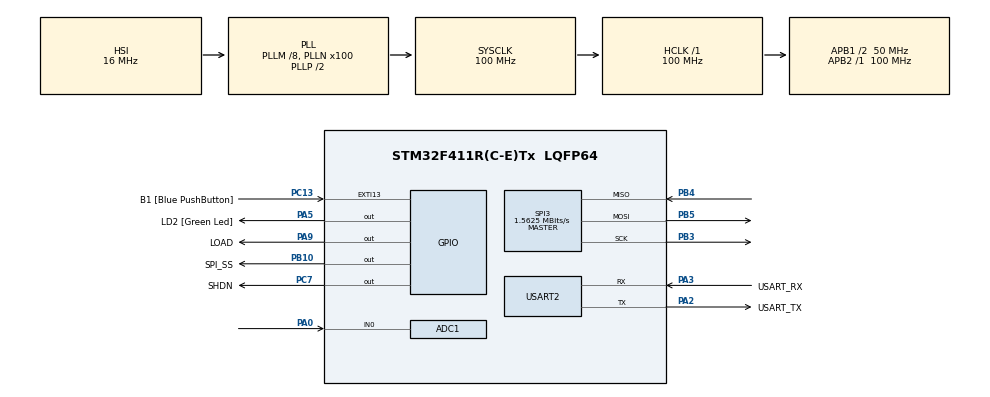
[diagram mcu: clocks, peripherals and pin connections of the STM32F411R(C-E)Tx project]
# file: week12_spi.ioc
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ADC1.Channel-0\#ChannelRegularConversion=ADC_CHANNEL_0
ADC1.DMAContinuousRequests=ENABLE
ADC1.ExternalTrigConv=ADC_EXTERNALTRIGCONV_T3_TRGO
ADC1.NbrOfConversion=1
ADC1.NbrOfConversionFlag=1
ADC1.Rank-0\#ChannelRegularConversion=1
ADC1.SamplingTime-0\#ChannelRegularConversion=ADC_SAMPLETIME_3CYCLES
ADC1.ScanConvMode=ENABLE
ADC1.master=1
Dma.ADC1.0.Direction=DMA_PERIPH_TO_MEMORY
Dma.ADC1.0.FIFOMode=DMA_FIFOMODE_DISABLE
Dma.ADC1.0.Instance=DMA2_Stream0
Dma.ADC1.0.MemDataAlignment=DMA_MDATAALIGN_HALFWORD
Dma.ADC1.0.MemInc=DMA_MINC_ENABLE
Dma.ADC1.0.Mode=DMA_CIRCULAR
Dma.ADC1.0.PeriphDataAlignment=DMA_PDATAALIGN_HALFWORD
Dma.ADC1.0.PeriphInc=DMA_PINC_DISABLE
Dma.ADC1.0.Priority=DMA_PRIORITY_LOW
Dma.Request0=ADC1
Mcu.Family=STM32F4
Mcu.Name=STM32F411R(C-E)Tx
Mcu.Package=LQFP64
NVIC.ADC_IRQn=true\:0\:0\:false\:false\:true\:true\:true
NVIC.DMA2_Stream0_IRQn=true\:0\:0\:false\:false\:true\:false\:true
NVIC.PriorityGroup=NVIC_PRIORITYGROUP_0
NVIC.SPI3_IRQn=true\:0\:0\:false\:false\:true\:true\:true
NVIC.TIM1_TRG_COM_TIM11_IRQn=true\:0\:0\:false\:false\:true\:true\:true
NVIC.USART2_IRQn=true\:0\:0\:false\:false\:true\:true\:true
PA0-WKUP.Signal=ADCx_IN0
PA13.GPIO_Label=TMS
PA13.Mode=Serial_Wire
PA13.Signal=SYS_JTMS-SWDIO
PA14.GPIO_Label=TCK
PA14.Mode=Serial_Wire
PA14.Signal=SYS_JTCK-SWCLK
PA2.GPIO_Label=USART_TX
PA2.Mode=Asynchronous
PA2.Signal=USART2_TX
PA3.GPIO_Label=USART_RX
PA3.Mode=Asynchronous
PA3.Signal=USART2_RX
PA5.GPIO_Label=LD2 [Green Led]
PA5.Signal=GPIO_Output
PA9.GPIO_Label=LOAD
PA9.Signal=GPIO_Output
PB10.GPIO_Label=SPI_SS
PB10.PinState=GPIO_PIN_SET
PB10.Signal=GPIO_Output
PB3.Mode=Full_Duplex_Master
PB3.Signal=SPI3_SCK
PB4.Mode=Full_Duplex_Master
PB4.Signal=SPI3_MISO
PB5.Mode=Full_Duplex_Master
PB5.Signal=SPI3_MOSI
PC13-ANTI_TAMP.GPIO_Label=B1 [Blue PushButton]
PC13-ANTI_TAMP.GPIO_ModeDefaultEXTI=GPIO_MODE_IT_FALLING
PC13-ANTI_TAMP.Signal=GPXTI13
PC14-OSC32_IN.Mode=LSE-External-Oscillator
PC14-OSC32_IN.Signal=RCC_OSC32_IN
PC15-OSC32_OUT.Mode=LSE-External-Oscillator
PC15-OSC32_OUT.Signal=RCC_OSC32_OUT
PC7.GPIO_Label=SHDN
PC7.PinState=GPIO_PIN_SET
PC7.Signal=GPIO_Output
PH0\ -\ OSC_IN.Mode=HSE-External-Clock-Source
PH0\ -\ OSC_IN.Signal=RCC_OSC_IN
PH1\ -\ OSC_OUT.Mode=HSE-External-Clock-Source
PH1\ -\ OSC_OUT.Signal=RCC_OSC_OUT
ProjectManager.HeapSize=0x200
ProjectManager.StackSize=0x400
ProjectManager.TargetToolchain=STM32CubeIDE
RCC.48MHZClocksFreq_Value=50000000
RCC.AHBFreq_Value=100000000
RCC.APB1CLKDivider=RCC_HCLK_DIV2
RCC.APB1Freq_Value=50000000
RCC.APB1TimFreq_Value=100000000
RCC.APB2Freq_Value=100000000
RCC.APB2TimFreq_Value=100000000
RCC.CortexFreq_Value=100000000
RCC.FLatency-AdvancedSettings=FLASH_LATENCY_3
RCC.HCLKFreq_Value=100000000
RCC.HSE_VALUE=8000000
RCC.HSI_VALUE=16000000
RCC.PLLM=8
RCC.PLLN=100
RCC.SYSCLKFreq_VALUE=100000000
RCC.SYSCLKSource=RCC_SYSCLKSOURCE_PLLCLK
RCC.VCOOutputFreq_Value=200000000
SH.ADCx_IN0.0=ADC1_IN0,IN0
SPI3.BaudRatePrescaler=SPI_BAUDRATEPRESCALER_32
SPI3.CalculateBaudRate=1.5625 MBits/s
SPI3.DataSize=SPI_DATASIZE_16BIT
SPI3.Direction=SPI_DIRECTION_2LINES
SPI3.Mode=SPI_MODE_MASTER
SPI3.VirtualType=VM_MASTER
TIM11.Prescaler=99
TIM3.Period=100
TIM3.Prescaler=99
TIM3.TIM_MasterOutputTrigger=TIM_TRGO_UPDATE
USART2.VirtualMode=VM_ASYNC
VP_TIM11_VS_ClockSourceINT.Mode=Enable_Timer
VP_TIM3_VS_ClockSourceINT.Mode=Internal
board=NUCLEO-F411RE

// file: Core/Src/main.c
/* USER CODE BEGIN Header */
/**
 ******************************************************************************
 * @file           : main.c
 * @brief          : Main program body
 ******************************************************************************
 * @attention
 *
 * <h2><center>&copy; Copyright (c) 2021 STMicroelectronics.
 * All rights reserved.</center></h2>
 *
 * This software component is licensed by ST under BSD 3-Clause license,
 * the "License"; You may not use this file except in compliance with the
 * License. You may obtain a copy of the License at:
 *                        opensource.org/licenses/BSD-3-Clause
 *
 ******************************************************************************
 */
/* USER CODE END Header */
#include "main.h"

/* USER CODE BEGIN Includes */
#include "math.h"
/* USER CODE END Includes */

ADC_HandleTypeDef hadc1;
DMA_HandleTypeDef hdma_adc1;

SPI_HandleTypeDef hspi3;

TIM_HandleTypeDef htim3;
TIM_HandleTypeDef htim11;

UART_HandleTypeDef huart2;

/* USER CODE BEGIN PV */
uint16_t ADCin = 0;
uint64_t _micro = 0;
int dataOut = 0;
uint8_t DACConfig = 0b0011;
float data = 0;
float Vmax = 3.3;
float Vmin = 0;
float f = 1;
int flip = 0;
int Duty = 50;
char TxDataBuffer[32] =
{ 0 };
char RxDataBuffer[32] =
{ 0 };
char temp[100] =
{ 0 };
char s[100] =
{ 0 };
char s2[100] =
{ 0 };
uint32_t STATE_Display = 0;
static float timestamp = 0;
static int i = 0;
enum _StateDisplay
{
	State_Start = 0,
	State_Menu_Print = 10,
	State_Menu_WaitInput,
	State_Menu1_Print = 20,
	State_Menu1_WaitInput,
	State_Menu2_Print = 30,
	State_Menu2_WaitInput,
	State_Menu3_Print = 40,
	State_Menu3_WaitInput
};
/* USER CODE END PV */

void SystemClock_Config(void);
static void MX_GPIO_Init(void);
static void MX_DMA_Init(void);
static void MX_USART2_UART_Init(void);
static void MX_ADC1_Init(void);
static void MX_SPI3_Init(void);
static void MX_TIM3_Init(void);
static void MX_TIM11_Init(void);
/* USER CODE BEGIN PFP */
void UARTRecieveAndResponsePolling();
int16_t UARTRecieveIT();
void MCP4922SetOutput(uint8_t Config, uint16_t DACOutput);
uint64_t micros();
/* USER CODE END PFP */

int main(void)
{

  /* MCU Configuration--------------------------------------------------------*/

  /* Reset of all peripherals, Initializes the Flash interface and the Systick. */
  HAL_Init();

  /* Configure the system clock */
  SystemClock_Config();

  /* Initialize all configured peripherals */
  MX_GPIO_Init();
  MX_DMA_Init();
  MX_USART2_UART_Init();
  MX_ADC1_Init();
  MX_SPI3_Init();
  MX_TIM3_Init();
  MX_TIM11_Init();
  /* USER CODE BEGIN 2 */
	HAL_TIM_Base_Start(&htim3);
	HAL_TIM_Base_Start_IT(&htim11);
	HAL_ADC_Start_DMA(&hadc1, (uint32_t*) &ADCin, 1);

	HAL_GPIO_WritePin(LOAD_GPIO_Port, LOAD_Pin, GPIO_PIN_RESET);
  /* USER CODE END 2 */

  /* Infinite loop */
  /* USER CODE BEGIN WHILE */
	while (1)
	{
//		UARTRecieveAndResponsePolling();
		int16_t inputchar = UARTRecieveIT();
		HAL_UART_Receive_IT(&huart2, (uint8_t*) RxDataBuffer, 32);
		if (inputchar != -1)
		{
			//sprintf(TxDataBuffer, "ReceivedChar:[%c]\r\n", inputchar);
			HAL_UART_Transmit(&huart2, (uint8_t*) TxDataBuffer,
					strlen(TxDataBuffer), 1000);
		}

		switch (STATE_Display)
		{
		case State_Start:
			STATE_Display = State_Menu_Print;
			break;

		case State_Menu_Print: //display one time state
		{
			char temp[] = "|Menu|\r\n"
					"1.[1] Menu 1 (Sawtooth)\r\n"
					"2.[2] Menu 2 (Sine wave)\r\n"
					"3.[3] Menu 3 (Square wave)\r\n"
					"-----------------------------\r\n";
			HAL_UART_Transmit(&huart2, (uint16_t*) temp, strlen(temp), 1000);
			STATE_Display = State_Menu_WaitInput;
			break;
		}

		case State_Menu_WaitInput: //wait state for input
			switch (inputchar)
			{
			case -1:
				//no input ; just wait input
				break;
			case '1':
				STATE_Display = State_Menu1_Print;
				break;
			case '2':
				STATE_Display = State_Menu2_Print;
				break;
			case '3':
				STATE_Display = State_Menu3_Print;
				break;
			default: // actully error , you can add error message
			{
				STATE_Display = State_Menu_Print;
				break;
			}
			}
			break;

		case State_Menu1_Print: //display one time state
		{
			char temp[] = "|Menu1|\r\n"
					"1.[a] + frequency (+0.1)\r\n"
					"2.[s] - frequency (-0.1)\r\n"
					"3.[q] + Vmax (+0.1)\r\n"
					"4.[w] - Vmax (-0.1)\r\n"
					"5.[e] + Vmin (+0.1)\r\n"
					"6.[r] - Vmin (-0.1)\r\n"
					"7.[d] Up/Down Slope\r\n"
					"8.[x] Back\r\n"
					"-----------------------------\r\n";
			int f10 = 0, max = 0, min = 0;
			f10 = f * 10;
			max = Vmax * 1000.0;
			min = Vmin * 1000.0;
			sprintf(s,
					"Now frequency*10:[%d] Hz\r\nNow Vmax:[%d] mV\r\nNow Vmin:[%d] mV\r\n-----------------------------\r\n",
					f10, max, min);
			HAL_UART_Transmit(&huart2, (uint8_t*) temp, strlen(temp), 1000);
			HAL_UART_Transmit(&huart2, (uint8_t*) s, strlen(s), 1000);
			STATE_Display = State_Menu1_WaitInput;
			break;
		}

		case State_Menu1_WaitInput:
			switch (inputchar)
			{
			case 'x': // back to main manu(10)
				STATE_Display = State_Menu_Print;
				break;
			case -1:
				//no input ; just wait input
				break;
			case 'a':
			{
				f += 0.1;
				if (f >= 10)
				{
					f = 10;
				}
				STATE_Display = State_Menu1_Print;
				break;
			}
			case 's':
			{
				f -= 0.1;
				if (f <= 0)
				{
					f = 0.1;
				}
				STATE_Display = State_Menu1_Print;
				break;
			}
			case 'd':
				STATE_Display = State_Menu1_Print;
				if (flip == 1)
				{
					flip = 0;
					break;
				}
				if (flip == 0)
				{
					flip = 1;
					break;
				}
			case 'q':
			{
				Vmax += 0.1;
				if (Vmax >= 3.3)
				{
					Vmax = 3.3;
				}
				STATE_Display = State_Menu1_Print;
				break;
			}
			case 'w':
			{
				Vmax -= 0.1;
				if (Vmax <= Vmin + 0.1)
				{
					Vmax = Vmin + 0.1;
				}
				STATE_Display = State_Menu1_Print;
				break;
			}
			case 'e':
			{
				Vmin += 0.1;
				if (Vmin >= Vmax - 0.1)
				{
					Vmin = Vmax - 0.1;
				}
				STATE_Display = State_Menu1_Print;
				break;
			}
			case 'r':
			{
				Vmin -= 0.1;
				if (Vmin <= 0)
				{
					Vmin = 0;
				}
				STATE_Display = State_Menu1_Print;
				break;
			}
			default: // actully error , you can add error message
			{
				STATE_Display = State_Menu1_Print;
				break;
			}
			}

			break;

		case State_Menu2_Print: //display state
		{
			char temp[] = "|Menu2|\r\n"
					"1.[a] + frequency (+0.1)\r\n"
					"2.[s] - frequency (-0.1)\r\n"
					"3.[q] + Vmax (+0.1)\r\n"
					"4.[w] - Vmax (-0.1)\r\n"
					"5.[e] + Vmin (+0.1)\r\n"
					"6.[r] - Vmin (-0.1)\r\n"
					"7.[x] Back\r\n"
					"-----------------------------\r\n";
			int f10 = 0, max = 0, min = 0;
			f10 = f * 10;
			max = Vmax * 1000.0;
			min = Vmin * 1000.0;
			sprintf(s,
					"Now frequency*10:[%d] Hz\r\nNow Vmax:[%d] mV\r\nNow Vmin:[%d] mV\r\n-----------------------------\r\n",
					f10, max, min);
			HAL_UART_Transmit(&huart2, (uint8_t*) temp, strlen(temp), 1000);
			HAL_UART_Transmit(&huart2, (uint8_t*) s, strlen(s), 1000);
			STATE_Display = State_Menu2_WaitInput;
			break;
		}

		case State_Menu2_WaitInput: //make decision state
			switch (inputchar)
			{
			case 'x':
				STATE_Display = State_Menu_Print;
				break;
			case -1:
				break;
			case 'a':
			{
				f += 0.1;
				if (f >= 10)
				{
					f = 10;
				}
				STATE_Display = State_Menu2_Print;
				break;
			}
			case 's':
			{
				f -= 0.1;
				if (f <= 0.1)
				{
					f = 0.1;
				}
				STATE_Display = State_Menu2_Print;
				break;
			}
			case 'q':
			{
				Vmax += 0.1;
				if (Vmax >= 3.3)
				{
					Vmax = 3.3;
				}
				STATE_Display = State_Menu2_Print;
				break;
			}
			case 'w':
			{
				Vmax -= 0.1;
				if (Vmax <= Vmin + 0.1)
				{
					Vmax = Vmin + 0.1;
				}
				STATE_Display = State_Menu2_Print;
				break;
			}
			case 'e':
			{
				Vmin += 0.1;
				if (Vmin >= Vmax - 0.1)
				{
					Vmin = Vmax - 0.1;
				}
				STATE_Display = State_Menu2_Print;
				break;
			}
			case 'r':
			{
				Vmin -= 0.1;
				if (Vmin <= 0)
				{
					Vmin = 0;
				}
				STATE_Display = State_Menu2_Print;
				break;
			}
			default: // actully error , you can add error message
			{
				STATE_Display = State_Menu2_Print;
				break;
			}
			}
			break;

		case State_Menu3_Print:
		{
			char temp[] = "|Menu3|\r\n"
					"1.[a] + frequency (+0.1)\r\n"
					"2.[s] - frequency (-0.1)\r\n"
					"3.[q] + Vmax (+0.1)\r\n"
					"4.[w] - Vmax (-0.1)\r\n"
					"5.[e] + Vmin (+0.1)\r\n"
					"6.[r] - Vmin (-0.1)\r\n"
					"7.[d] + Duty (+5)\r\n"
					"8.[f] - Duty (-5)\r\n"
					"9.[x] Back\r\n"
					"-----------------------------\r\n";
			int f10 = 0, max = 0, min = 0, duty = 0;
			f10 = f * 10;
			max = Vmax * 1000.0;
			min = Vmin * 1000.0;
			duty = Duty;
			sprintf(s,
					"Now frequency*10:[%d] Hz\r\nNow Vmax:[%d] mV\r\nNow Vmin:[%d] mV\r\n",
					f10, max, min);
			sprintf(s2,
					"Now Duty:[%d] percent\r\n-----------------------------\r\n",
					duty);
			HAL_UART_Transmit(&huart2, (uint8_t*) temp, strlen(temp), 1000);
			HAL_UART_Transmit(&huart2, (uint8_t*) s, strlen(s), 1000);
			HAL_UART_Transmit(&huart2, (uint8_t*) s2, strlen(s2), 1000);
			STATE_Display = State_Menu3_WaitInput;
			break;
		}

		case State_Menu3_WaitInput: //make decision state
			switch (inputchar)
			{
			case 'x':
				STATE_Display = State_Menu_Print;
				break;
			case -1:
				break;
			case 'a':
			{
				f += 0.1;
				if (f >= 10)
				{
					f = 10;
				}
				STATE_Display = State_Menu3_Print;
				break;
			}
			case 's':
			{
				f -= 0.1;
				if (f <= 0.1)
				{
					f = 0.1;
				}
				STATE_Display = State_Menu3_Print;
				break;
			}
			case 'q':
			{
				Vmax += 0.1;
				if (Vmax >= 3.3)
				{
					Vmax = 3.3;
				}
				STATE_Display = State_Menu3_Print;
				break;
			}
			case 'w':
			{
				Vmax -= 0.1;
				if (Vmax <= Vmin + 0.1)
				{
					Vmax = Vmin + 0.1;
				}
				STATE_Display = State_Menu3_Print;
				break;
			}
			case 'e':
			{
				Vmin += 0.1;
				if (Vmin >= Vmax - 0.1)
				{
					Vmin = Vmax - 0.1;
				}
				STATE_Display = State_Menu3_Print;
				break;
			}
			case 'r':
			{
				Vmin -= 0.1;
				if (Vmin <= 0)
				{
					Vmin = 0;
				}
				STATE_Display = State_Menu3_Print;
				break;
			}
			case 'd':
			{
				Duty += 5;
				if (Duty >= 95)
				{
					Duty = 95;
				}
				STATE_Display = State_Menu3_Print;
				break;
			}
			case 'f':
			{
				Duty -= 5;
				if (Duty <= 5)
				{
					Duty = 5;
				}
				STATE_Display = State_Menu3_Print;
				break;
			}
			default: // actully error , you can add error message
			{
				STATE_Display = State_Menu3_Print;
				break;
			}
			}
			break;
		}

		if (STATE_Display == State_Menu1_WaitInput)
		{
			if (micros() - timestamp >= 1000)
			{
				timestamp = micros();
				if (flip == 0)
				{
					data = (Vmax - Vmin)
							* (4096.0 * timestamp * f / (3.3 * 1000000.0));
					dataOut = data;
					int mod = ((Vmax - Vmin) * (4096.0 / 3.3));
					dataOut %= mod;
					dataOut += (Vmin * 4096.0 / 3.3);
				}
				else if (flip == 1)
				{
					data = (Vmax - Vmin)
							* (4096.0 * timestamp * f / (3.3 * 1000000.0));
					dataOut = -data;
					int mod = ((Vmin - Vmax) * (4096.0 / 3.3));
					dataOut %= mod;
					dataOut += (Vmax * 4096.0 / 3.3);
				}
				if (hspi3.State == HAL_SPI_STATE_READY
						&& HAL_GPIO_ReadPin(SPI_SS_GPIO_Port, SPI_SS_Pin)
								== GPIO_PIN_SET)
				{
					MCP4922SetOutput(DACConfig, dataOut);
				}
			}
		}

		if (STATE_Display == State_Menu2_WaitInput)
		{
			if (micros() - timestamp >= 1000)
			{
				timestamp = micros();

				data = (float) (((Vmax - Vmin) / 2) * (4096.0 / 3.3)
						* sinf((float) (2 * 3.14 * f * timestamp / 1000000.0)));
				dataOut = data;
				dataOut += (((Vmax - Vmin) / 2) * 4096.0 / 3.3)
						+ ((Vmin) * 4096.0 / 3.3);
			}
			if (hspi3.State == HAL_SPI_STATE_READY
					&& HAL_GPIO_ReadPin(SPI_SS_GPIO_Port, SPI_SS_Pin)
							== GPIO_PIN_SET)
			{
				MCP4922SetOutput(DACConfig, dataOut);
			}
		}

		if (STATE_Display == State_Menu3_WaitInput)
		{
			if (i == 0)
			{
				timestamp = micros();
				i = 1;
			}
			if (micros() < timestamp + ((1000000 * Duty) / (f * 100)))
			{
				dataOut = ((Vmax) * 4096.0 / 3.3);
				if (dataOut >= 4096)
				{
					dataOut = 4095;
				}
			}
			else if (micros() < timestamp + (1000000 / f))
			{
				dataOut = ((Vmin) * 4096.0 / 3.3);
			}
			else
			{
				i = 0;
			}
			if (hspi3.State == HAL_SPI_STATE_READY
					&& HAL_GPIO_ReadPin(SPI_SS_GPIO_Port, SPI_SS_Pin)
							== GPIO_PIN_SET)
			{
				MCP4922SetOutput(DACConfig, dataOut);
			}

		}
    /* USER CODE END WHILE */

	}
}

void SystemClock_Config(void)
{
  RCC_OscInitTypeDef RCC_OscInitStruct = {0};
  RCC_ClkInitTypeDef RCC_ClkInitStruct = {0};

  /** Configure the main internal regulator output voltage
  */
  __HAL_RCC_PWR_CLK_ENABLE();
  __HAL_PWR_VOLTAGESCALING_CONFIG(PWR_REGULATOR_VOLTAGE_SCALE1);
  /** Initializes the RCC Oscillators according to the specified parameters
  * in the RCC_OscInitTypeDef structure.
  */
  RCC_OscInitStruct.OscillatorType = RCC_OSCILLATORTYPE_HSI;
  RCC_OscInitStruct.HSIState = RCC_HSI_ON;
  RCC_OscInitStruct.HSICalibrationValue = RCC_HSICALIBRATION_DEFAULT;
  RCC_OscInitStruct.PLL.PLLState = RCC_PLL_ON;
  RCC_OscInitStruct.PLL.PLLSource = RCC_PLLSOURCE_HSI;
  RCC_OscInitStruct.PLL.PLLM = 8;
  RCC_OscInitStruct.PLL.PLLN = 100;
  RCC_OscInitStruct.PLL.PLLP = RCC_PLLP_DIV2;
  RCC_OscInitStruct.PLL.PLLQ = 4;
  if (HAL_RCC_OscConfig(&RCC_OscInitStruct) != HAL_OK)
  {
    Error_Handler();
  }
  /** Initializes the CPU, AHB and APB buses clocks
  */
  RCC_ClkInitStruct.ClockType = RCC_CLOCKTYPE_HCLK|RCC_CLOCKTYPE_SYSCLK
                              |RCC_CLOCKTYPE_PCLK1|RCC_CLOCKTYPE_PCLK2;
  RCC_ClkInitStruct.SYSCLKSource = RCC_SYSCLKSOURCE_PLLCLK;
  RCC_ClkInitStruct.AHBCLKDivider = RCC_SYSCLK_DIV1;
  RCC_ClkInitStruct.APB1CLKDivider = RCC_HCLK_DIV2;
  RCC_ClkInitStruct.APB2CLKDivider = RCC_HCLK_DIV1;

  if (HAL_RCC_ClockConfig(&RCC_ClkInitStruct, FLASH_LATENCY_3) != HAL_OK)
  {
    Error_Handler();
  }
}

static void MX_ADC1_Init(void)
{

  ADC_ChannelConfTypeDef sConfig = {0};

  /** Configure the global features of the ADC (Clock, Resolution, Data Alignment and number of conversion)
  */
  hadc1.Instance = ADC1;
  hadc1.Init.ClockPrescaler = ADC_CLOCK_SYNC_PCLK_DIV4;
  hadc1.Init.Resolution = ADC_RESOLUTION_12B;
  hadc1.Init.ScanConvMode = ENABLE;
  hadc1.Init.ContinuousConvMode = DISABLE;
  hadc1.Init.DiscontinuousConvMode = DISABLE;
  hadc1.Init.ExternalTrigConvEdge = ADC_EXTERNALTRIGCONVEDGE_RISING;
  hadc1.Init.ExternalTrigConv = ADC_EXTERNALTRIGCONV_T3_TRGO;
  hadc1.Init.DataAlign = ADC_DATAALIGN_RIGHT;
  hadc1.Init.NbrOfConversion = 1;
  hadc1.Init.DMAContinuousRequests = ENABLE;
  hadc1.Init.EOCSelection = ADC_EOC_SINGLE_CONV;
  if (HAL_ADC_Init(&hadc1) != HAL_OK)
  {
    Error_Handler();
  }
  /** Configure for the selected ADC regular channel its corresponding rank in the sequencer and its sample time.
  */
  sConfig.Channel = ADC_CHANNEL_0;
  sConfig.Rank = 1;
  sConfig.SamplingTime = ADC_SAMPLETIME_3CYCLES;
  if (HAL_ADC_ConfigChannel(&hadc1, &sConfig) != HAL_OK)
  {
    Error_Handler();
  }

}

static void MX_SPI3_Init(void)
{

  /* SPI3 parameter configuration*/
  hspi3.Instance = SPI3;
  hspi3.Init.Mode = SPI_MODE_MASTER;
  hspi3.Init.Direction = SPI_DIRECTION_2LINES;
  hspi3.Init.DataSize = SPI_DATASIZE_16BIT;
  hspi3.Init.CLKPolarity = SPI_POLARITY_LOW;
  hspi3.Init.CLKPhase = SPI_PHASE_1EDGE;
  hspi3.Init.NSS = SPI_NSS_SOFT;
  hspi3.Init.BaudRatePrescaler = SPI_BAUDRATEPRESCALER_32;
  hspi3.Init.FirstBit = SPI_FIRSTBIT_MSB;
  hspi3.Init.TIMode = SPI_TIMODE_DISABLE;
  hspi3.Init.CRCCalculation = SPI_CRCCALCULATION_DISABLE;
  hspi3.Init.CRCPolynomial = 10;
  if (HAL_SPI_Init(&hspi3) != HAL_OK)
  {
    Error_Handler();
  }

}

static void MX_TIM3_Init(void)
{

  TIM_ClockConfigTypeDef sClockSourceConfig = {0};
  TIM_MasterConfigTypeDef sMasterConfig = {0};

  htim3.Instance = TIM3;
  htim3.Init.Prescaler = 99;
  htim3.Init.CounterMode = TIM_COUNTERMODE_UP;
  htim3.Init.Period = 100;
  htim3.Init.ClockDivision = TIM_CLOCKDIVISION_DIV1;
  htim3.Init.AutoReloadPreload = TIM_AUTORELOAD_PRELOAD_DISABLE;
  if (HAL_TIM_Base_Init(&htim3) != HAL_OK)
  {
    Error_Handler();
  }
  sClockSourceConfig.ClockSource = TIM_CLOCKSOURCE_INTERNAL;
  if (HAL_TIM_ConfigClockSource(&htim3, &sClockSourceConfig) != HAL_OK)
  {
    Error_Handler();
  }
  sMasterConfig.MasterOutputTrigger = TIM_TRGO_UPDATE;
  sMasterConfig.MasterSlaveMode = TIM_MASTERSLAVEMODE_DISABLE;
  if (HAL_TIMEx_MasterConfigSynchronization(&htim3, &sMasterConfig) != HAL_OK)
  {
    Error_Handler();
  }

}

static void MX_TIM11_Init(void)
{

  htim11.Instance = TIM11;
  htim11.Init.Prescaler = 99;
  htim11.Init.CounterMode = TIM_COUNTERMODE_UP;
  htim11.Init.Period = 65535;
  htim11.Init.ClockDivision = TIM_CLOCKDIVISION_DIV1;
  htim11.Init.AutoReloadPreload = TIM_AUTORELOAD_PRELOAD_DISABLE;
  if (HAL_TIM_Base_Init(&htim11) != HAL_OK)
  {
    Error_Handler();
  }

}

static void MX_USART2_UART_Init(void)
{

  huart2.Instance = USART2;
  huart2.Init.BaudRate = 115200;
  huart2.Init.WordLength = UART_WORDLENGTH_8B;
  huart2.Init.StopBits = UART_STOPBITS_1;
  huart2.Init.Parity = UART_PARITY_NONE;
  huart2.Init.Mode = UART_MODE_TX_RX;
  huart2.Init.HwFlowCtl = UART_HWCONTROL_NONE;
  huart2.Init.OverSampling = UART_OVERSAMPLING_16;
  if (HAL_UART_Init(&huart2) != HAL_OK)
  {
    Error_Handler();
  }

}

static void MX_DMA_Init(void)
{

  /* DMA controller clock enable */
  __HAL_RCC_DMA2_CLK_ENABLE();

  /* DMA interrupt init */
  /* DMA2_Stream0_IRQn interrupt configuration */
  HAL_NVIC_SetPriority(DMA2_Stream0_IRQn, 0, 0);
  HAL_NVIC_EnableIRQ(DMA2_Stream0_IRQn);

}

static void MX_GPIO_Init(void)
{
  GPIO_InitTypeDef GPIO_InitStruct = {0};

  /* GPIO Ports Clock Enable */
  __HAL_RCC_GPIOC_CLK_ENABLE();
  __HAL_RCC_GPIOH_CLK_ENABLE();
  __HAL_RCC_GPIOA_CLK_ENABLE();
  __HAL_RCC_GPIOB_CLK_ENABLE();

  /*Configure GPIO pin Output Level */
  HAL_GPIO_WritePin(GPIOA, LD2_Pin|LOAD_Pin, GPIO_PIN_RESET);

  /*Configure GPIO pin Output Level */
  HAL_GPIO_WritePin(SPI_SS_GPIO_Port, SPI_SS_Pin, GPIO_PIN_SET);

  /*Configure GPIO pin Output Level */
  HAL_GPIO_WritePin(SHDN_GPIO_Port, SHDN_Pin, GPIO_PIN_SET);

  /*Configure GPIO pin : B1_Pin */
  GPIO_InitStruct.Pin = B1_Pin;
  GPIO_InitStruct.Mode = GPIO_MODE_IT_FALLING;
  GPIO_InitStruct.Pull = GPIO_NOPULL;
  HAL_GPIO_Init(B1_GPIO_Port, &GPIO_InitStruct);

  /*Configure GPIO pins : LD2_Pin LOAD_Pin */
  GPIO_InitStruct.Pin = LD2_Pin|LOAD_Pin;
  GPIO_InitStruct.Mode = GPIO_MODE_OUTPUT_PP;
  GPIO_InitStruct.Pull = GPIO_NOPULL;
  GPIO_InitStruct.Speed = GPIO_SPEED_FREQ_LOW;
  HAL_GPIO_Init(GPIOA, &GPIO_InitStruct);

  /*Configure GPIO pin : SPI_SS_Pin */
  GPIO_InitStruct.Pin = SPI_SS_Pin;
  GPIO_InitStruct.Mode = GPIO_MODE_OUTPUT_PP;
  GPIO_InitStruct.Pull = GPIO_NOPULL;
  GPIO_InitStruct.Speed = GPIO_SPEED_FREQ_LOW;
  HAL_GPIO_Init(SPI_SS_GPIO_Port, &GPIO_InitStruct);

  /*Configure GPIO pin : SHDN_Pin */
  GPIO_InitStruct.Pin = SHDN_Pin;
  GPIO_InitStruct.Mode = GPIO_MODE_OUTPUT_PP;
  GPIO_InitStruct.Pull = GPIO_NOPULL;
  GPIO_InitStruct.Speed = GPIO_SPEED_FREQ_LOW;
  HAL_GPIO_Init(SHDN_GPIO_Port, &GPIO_InitStruct);

}

/* USER CODE BEGIN 4 */
void UARTRecieveAndResponsePolling()
{
	char Recieve[32] =
	{ 0 };

	HAL_UART_Receive(&huart2, (uint8_t*) Recieve, 32, 1000);

//sprintf(TxDataBuffer, "Received:[%s]\r\n", Recieve);
	HAL_UART_Transmit(&huart2, (uint8_t*) TxDataBuffer, strlen(TxDataBuffer),
			1000);

}
int16_t UARTRecieveIT()
{
	static uint32_t dataPos = 0;
	int16_t data = -1;
	if (huart2.RxXferSize - huart2.RxXferCount != dataPos)
	{
		data = RxDataBuffer[dataPos];
		dataPos = (dataPos + 1) % huart2.RxXferSize;
	}
	return data;
}

void HAL_UART_RxCpltCallback(UART_HandleTypeDef *huart)
{
//sprintf(TxDataBuffer, "Received:[%s]\r\n", RxDataBuffer);
	HAL_UART_Transmit(&huart2, (uint8_t*) TxDataBuffer, strlen(TxDataBuffer),
			1000);
}
void MCP4922SetOutput(uint8_t Config, uint16_t DACOutput)
{
	uint32_t OutputPacket = (DACOutput & 0x0fff) | ((Config & 0xf) << 12);
	HAL_GPIO_WritePin(SPI_SS_GPIO_Port, SPI_SS_Pin, GPIO_PIN_RESET);
	HAL_SPI_Transmit_IT(&hspi3, &OutputPacket, 1);
}

void HAL_SPI_TxCpltCallback(SPI_HandleTypeDef *hspi)
{
	if (hspi == &hspi3)
	{
		HAL_GPIO_WritePin(SPI_SS_GPIO_Port, SPI_SS_Pin, GPIO_PIN_SET);
	}
}

void HAL_TIM_PeriodElapsedCallback(TIM_HandleTypeDef *htim)
{
	if (htim == &htim11)
	{
		_micro += 65535;
	}
}

inline uint64_t micros()
{
	return htim11.Instance->CNT + _micro;
}
/* USER CODE END 4 */

void Error_Handler(void)
{
	__disable_irq();
	while (1)
	{
	}
}

/************************ (C) COPYRIGHT STMicroelectronics *****END OF FILE****/
